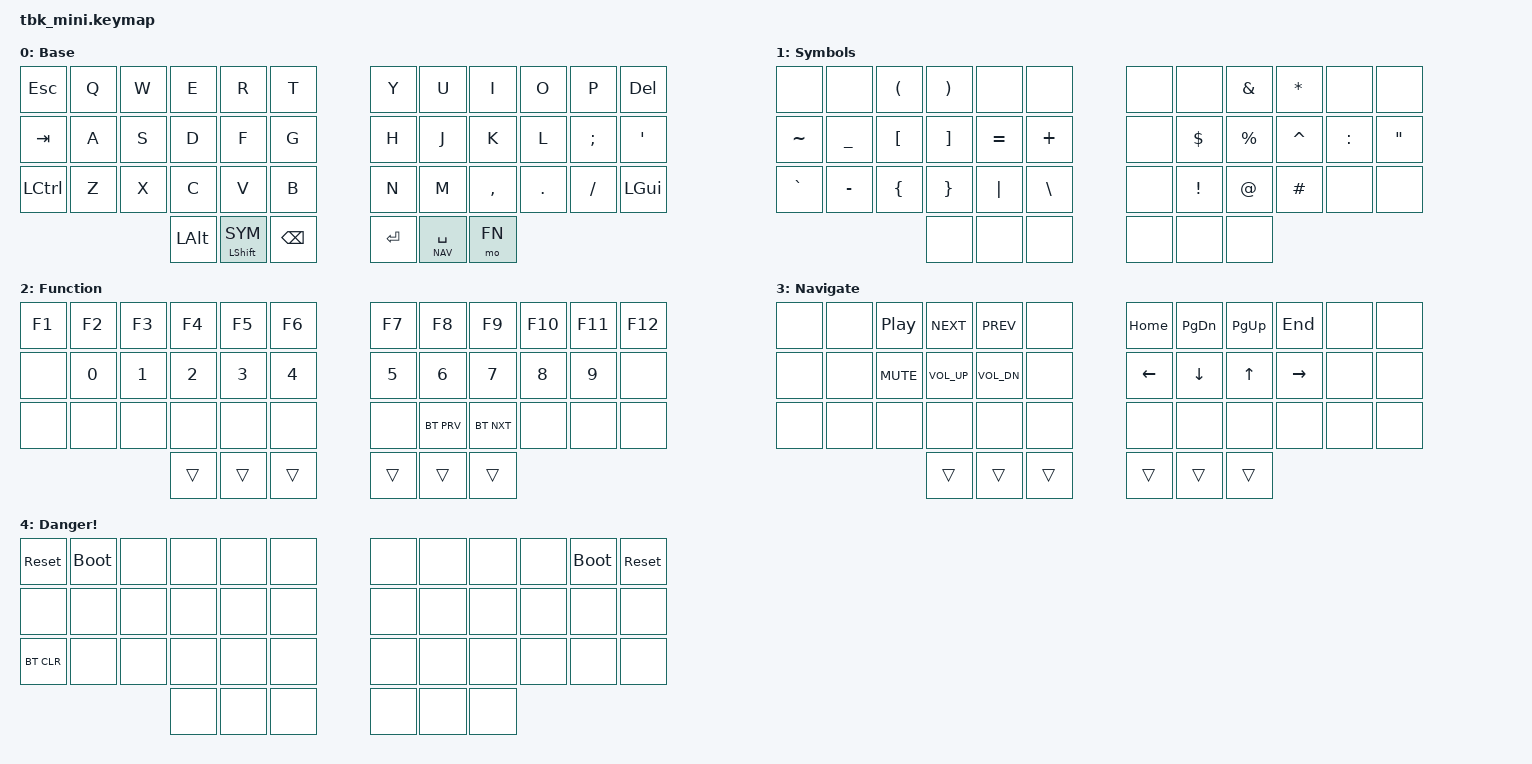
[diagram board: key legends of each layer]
/*
 * Copyright (c) 2020 The ZMK Contributors
 *
 * SPDX-License-Identifier: MIT
 */

#include <behaviors.dtsi>
#include <dt-bindings/zmk/keys.h>
#include <dt-bindings/zmk/bt.h>
#include <dt-bindings/zmk/outputs.h>

#define DEFAULT 0
#define SYM 1
#define FN 2
#define NAV 3
#define DNG 4

&nice_view_spi {
    cs-gpios = <&pro_micro 0 GPIO_ACTIVE_HIGH>;
};

/ {
    behaviors {
        ss: sym_shift {
	    compatible = "zmk,behavior-hold-tap";
	    label = "SYM_SHIFT";
	    #binding-cells = <2>;
	    tapping-term-ms = <200>;
	    quick-tap-ms = <100>;
	    flavor = "tap-preferred";
	    bindings = <&kp>, <&mo>;
	};
    };

    combos {
        compatible = "zmk,combos";
        combo_danger {
            timeout-ms = <50>;
            key-positions = <36 41>;
            bindings = <&mo DNG>;
        };
    };


    keymap {
        compatible = "zmk,keymap";

        default_layer {
            display-name = "Base";
            bindings = <
   &kp ESC   &kp Q &kp W &kp E &kp R &kp T   &kp Y &kp U  &kp I     &kp O   &kp P    &kp DEL
   &kp TAB   &kp A &kp S &kp D &kp F &kp G   &kp H &kp J  &kp K     &kp L   &kp SEMI &kp SQT
   &kp LCTRL &kp Z &kp X &kp C &kp V &kp B   &kp N &kp M  &kp COMMA &kp DOT &kp FSLH &kp LGUI
         &kp LALT &ss LSHIFT SYM  &kp BSPC   &kp RET &lt NAV SPACE  &mo FN
            >;
        };

	symbols_layer {
            display-name = "Symbols";
            bindings = <
   &none      &none          &kp LPAR &kp RPAR &none     &none      &none &none    &kp AMPS  &kp ASTRK &none     &none
   &kp TILDE  &kp UNDERSCORE &kp LBKT &kp RBKT &kp EQUAL &kp PLUS   &none &kp DLLR &kp PRCNT &kp CARET &kp COLON &kp DQT
   &kp GRAVE  &kp MINUS      &kp LBRC &kp RBRC &kp PIPE  &kp BSLH   &none &kp EXCL &kp AT    &kp HASH  &none      &none
                  		      &none    &none     &none      &none &none    &none
            >;
        };

        function_layer {
            display-name = "Function";
            bindings = <
   &kp F1 &kp F2 &kp F3 &kp F4    &kp F5 &kp F6    &kp F7 &kp F8     &kp F9     &kp F10    &kp F11  &kp F12
   &none &kp N0 &kp N1 &kp N2     &kp N3 &kp N4    &kp N5 &kp N6     &kp N7     &kp N8     &kp N9   &none
   &none &none  &none  &none      &none  &none     &none  &bt BT_PRV &bt BT_NXT &none      &none    &none
                          &trans &trans &trans    &trans &trans &trans
            >;
        };

	navigation_layer {
            display-name = "Navigate";
            bindings = <
   &none &none &kp C_PP   &kp C_NEXT   &kp C_PREV   &none   &kp HOME &kp PG_DN &kp PG_UP &kp END   &none &none
   &none &none &kp C_MUTE &kp C_VOL_UP &kp C_VOL_DN &none   &kp LEFT &kp DOWN  &kp UP    &kp RIGHT &none &none
   &none &none &none      &none        &none        &none   &none    &none     &none     &none     &none &none
                                     &trans &trans &trans   &trans &trans &trans
            >;
        };

        danger_layer {
            display-name = "Danger!";
            bindings = <
   &sys_reset &bootloader &none &none &none &none   &none &none &none &none &bootloader &sys_reset
   &none            &none &none &none &none &none   &none &none &none &none &none       &none
   &bt BT_CLR       &none &none &none &none &none   &none &none &none &none &none       &none
                     &none &none &none              &none &none &none
            >;
        };
    };
};                
